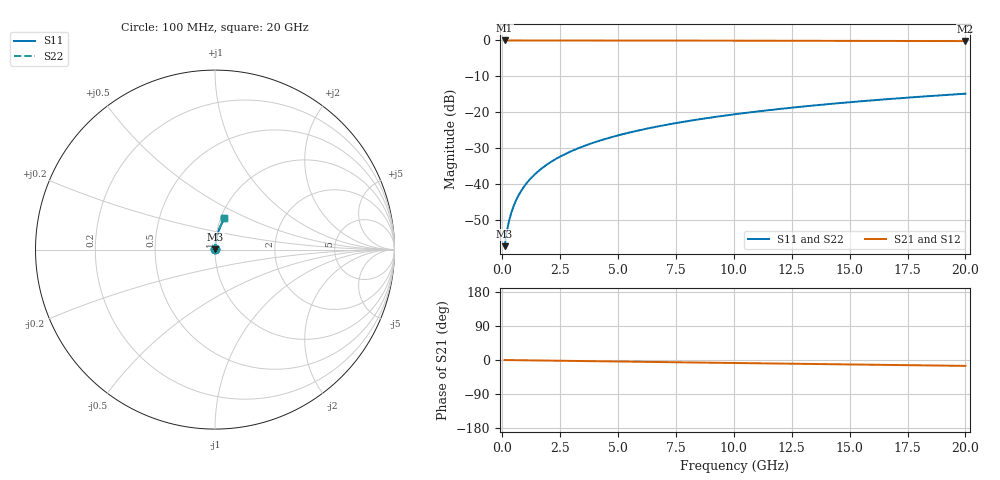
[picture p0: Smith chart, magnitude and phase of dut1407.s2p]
! Touchstone file exported from HFSS 2026.1.0
!  File:  C:/ffzhzh/LocalFiles/Ansys_Project_Files/temp_train_TMRDL_1407_1783166477_43440.aedt
!  Generated:  08:02:24 PM Jul  4, 2026
!  Design:  TMRDL
!  Project:  temp_train_TMRDL_1407_1783166477_43440
! Variables:
!  h_bsmrdl = 2um
!  h_ox = 20um
!  h_rdl = 5um
!  h_sub = 80um
!  h_tmrdl = 5.59um
!  h_tsv = 80um
!  h_via = 3um
!  l_bsmrdl = 300um
!  l_sub = 576.06um
!  l_tmrdl = 176.06um
!  m_sub = 200um
!  pitch = 46.6um
!  r_tsv = 6um
!  s_tmrdl = 10um
!  w_bsmrdl = 18um
!  w_sub = 500um
!  w_tmrdl = 13.55um
!  x_tsv_center1 = 182.835um
!  x_tsv_center2 = 500.835um
!  x_tsv_center3 = 690.445um
!  x_tsv_center4 = 1008.445um
!  x_tsv_center5 = 1198.055um
!  x_tsv_center6 = 1516.055um
# GHz S MA R 50.000000
! Terminal data exported
! Port[1] = TM_RDL1_1_T1
! Port[2] = TM_RDL1_1_T2
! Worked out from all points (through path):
!   200 points, 100 MHz to 20 GHz, reference 50 ohm
!   highest |S21| = -0.01 dB at 100 MHz (marker M1); lowest = -0.2 dB at 20 GHz (marker M2)
!   group delay of S21, straight-line fit = 2.15 ps
!   lowest |S11| = -57.3 dB at 100 MHz (marker M3), VSWR 1.00, Z = 50.1 + j0.101 ohm
!   |S11| at or under -10 dB: start of sweep to end of sweep
!   |S22| runs from -57.3 to -14.8 dB; largest |S21 - S12| = 4.5e-15
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0.1  0.001369 47.4  0.9991 -0.1  0.9991 -0.1  0.001369 47.4
! Gamma 0 0 0 0
! Port Impedance 50 0 50 0
0.2  0.002222 64.5  0.9991 -0.2  0.9991 -0.2  0.002222 64.5
0.3  0.003151 71.7  0.999 -0.2  0.999 -0.2  0.003151 71.7
0.4  0.004097 75.4  0.999 -0.3  0.999 -0.3  0.004097 75.4
0.5  0.005047 77.8  0.999 -0.4  0.999 -0.4  0.005047 77.8
0.7  0.006953 80.5  0.9989 -0.6  0.9989 -0.6  0.006953 80.5
0.8  0.007907 81.4  0.9989 -0.7  0.9989 -0.7  0.007907 81.4
1  0.00982 82.6  0.9988 -0.8  0.9988 -0.8  0.00982 82.6
1.2  0.01174 83.3  0.9987 -1.0  0.9987 -1.0  0.01174 83.3
1.4  0.01365 83.8  0.9987 -1.1  0.9987 -1.1  0.01365 83.8
1.7  0.01653 84.3  0.9986 -1.4  0.9986 -1.4  0.01653 84.3
2  0.0194 84.5  0.9985 -1.6  0.9985 -1.6  0.0194 84.5
2.7  0.02607 84.6  0.9982 -2.2  0.9982 -2.2  0.02607 84.6
3.5  0.03365 84.3  0.9977 -2.8  0.9977 -2.8  0.03365 84.3
4.2  0.04023 83.9  0.9973 -3.4  0.9973 -3.4  0.04023 83.9
5  0.0477 83.5  0.9968 -4.0  0.9968 -4.0  0.0477 83.5
6.8  0.06432 82.3  0.9954 -5.4  0.9954 -5.4  0.06432 82.3
8.3  0.07804 81.3  0.9941 -6.6  0.9941 -6.6  0.07804 81.3
10.1  0.09435 80.1  0.9923 -8.0  0.9923 -8.0  0.09435 80.1
13.4  0.1239 77.8  0.9886 -10.5  0.9886 -10.5  0.1239 77.8
16.7  0.1529 75.4  0.9842 -13.0  0.9842 -13.0  0.1529 75.4
20  0.1813 73.1  0.979 -15.5  0.979 -15.5  0.1813 73.1
